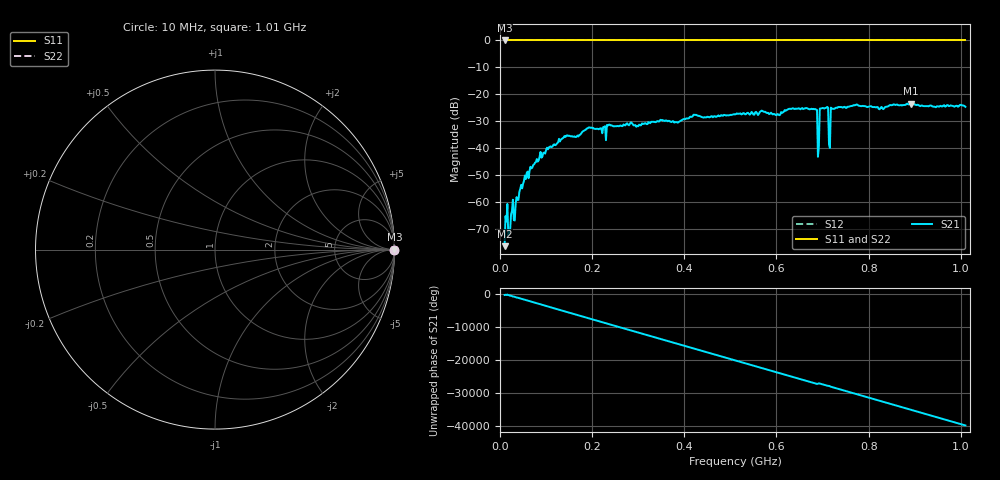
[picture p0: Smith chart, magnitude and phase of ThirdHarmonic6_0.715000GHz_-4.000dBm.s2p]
! 8/15/2025 11:53:43 PM
! C:\ANRITSUVNA\TEMP\TEMP.S2P
! CHANNEL.1
! TR.MEASUREMENT
! RAW.DATA
! RF.CORRECTION.OFF
! AVERAGING.OFF
! IF.BANDWIDTH: 5KHZ
! SWEEPTYPE:  FREQ.SWEEP(Linear)
! Reference Plane Port Info
! PORT:  PORT1  PORT2
! DISTANCE:  0  m  0  m
! TIME:  0  s  0  s
! PHASE.OFFSET:  0  deg.  0  deg.
! LOSS:  0  dB  0  dB
! REF.LOSS:  0  dB  0  dB
! REF.FREQ:  0  Hz  0  Hz
! Power Info
! POWER:  -20  dBm  -20  dBm
! EFF.POWER:  -20  dBm  -20  dBm
! SOURCE.ATTEN:  0  dB  0  dB
! TEST.ATTEN:  0  dB  0  dB
# GHZ S RI R 50.0
! FREQ.GHZ  S11RE  S11IM  S21RE  S21IM  S12RE  S12IM  S22RE  S22IM
!; PortSelection: Port_12
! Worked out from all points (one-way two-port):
!   501 points, 10 MHz to 1.01 GHz, reference 50 ohm
!   highest |S21| = -23.38 dB at 892 MHz (marker M1); lowest = -76.2 dB at 10 MHz (marker M2)
!   lowest |S11| = 0.0 dB at 10 MHz (marker M3)
!   |S11| at or under -10 dB: nowhere
!   |S22| runs from 0.0 to 0.0 dB; largest |S21 - S12| = 1.1
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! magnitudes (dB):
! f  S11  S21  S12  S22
! 10 MHz  0.0  -76.2  0.0  0.0
! 12 MHz  0.0  -65.1  0.0  0.0
! 22 MHz  0.0  -70.2  0.0  0.0
! 24 MHz  0.0  -64.5  0.0  0.0
! 56 MHz  0.0  -51.4  0.0  0.0
! 76 MHz  0.0  -45.3  0.0  0.0
! 142 MHz  0.0  -35.8  0.0  0.0
! 178 MHz  0.0  -34.0  0.0  0.0
! 344 MHz  0.0  -30.0  0.0  0.0
! 510 MHz  0.0  -27.4  0.0  0.0
! 678 MHz  0.0  -25.5  0.0  0.0
! 684 MHz  0.0  -25.4  0.0  0.0
! 688 MHz  0.0  -25.8  0.0  0.0
! 694 MHz  0.0  -25.3  0.0  0.0
! 698 MHz  0.0  -25.2  0.0  0.0
! 708 MHz  0.0  -24.9  0.0  0.0
! 712 MHz  0.0  -24.9  0.0  0.0
! 718 MHz  0.0  -24.9  0.0  0.0
! 722 MHz  0.0  -25.3  0.0  0.0
! 844 MHz  0.0  -24.2  0.0  0.0
! 892 MHz  0.0  -23.4  0.0  0.0
! 1.01 GHz  0.0  -24.6  0.0  0.0
